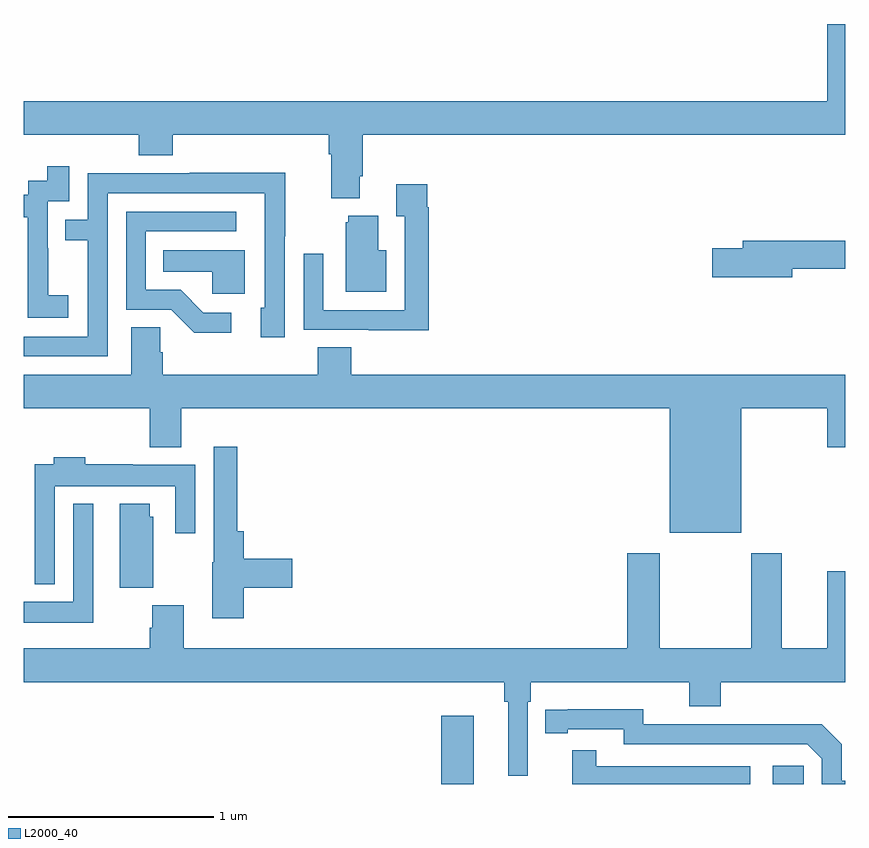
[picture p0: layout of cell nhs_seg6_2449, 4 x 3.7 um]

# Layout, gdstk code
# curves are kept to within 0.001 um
import gdstk
lib = gdstk.Library(unit=1e-6, precision=1e-09)
def R(c, l, rs):  # rectangles x0, y0, x1, y1
    for r in rs: c.add(gdstk.rectangle(r[:2], r[2:], *l))
def P(c, l, *ps):  # polygons
    for p in ps: c.add(gdstk.Polygon(p, *l))
L2000_40 = (2000, 40)

nhs_seg6_2449 = lib.new_cell('nhs_seg6_2449')
R(nhs_seg6_2449, L2000_40, [(259.034,953.5,259.192,953.833), (260.646,953.5,260.796,953.59)])
P(nhs_seg6_2449, L2000_40, [(258.637,956.458),(258.65,956.458),(258.65,956.66),(261,956.66),(261,957.199),(260.912,957.199),(260.912,956.824),(257,956.824),(257,956.66),(257.561,956.66),(257.561,956.561),(257.726,956.561),(257.726,956.66),(258.485,956.66),(258.485,956.564),(258.497,956.564),(258.497,956.351),(258.637,956.351)],
  [(257.218,955.879),(257.12,955.879),(257.12,956.108),(257.118,956.108),(257.118,956.337),(257.223,956.337),(257.223,956.506),(257.115,956.506),(257.115,956.436),(257.022,956.436),(257.022,956.367),(257,956.367),(257,956.259),(257.021,956.259),(257.021,955.975),(257.02,955.975),(257.02,955.769),(257.218,955.769)],
  [(257.409,956.376),(258.173,956.376),(258.173,956.122),(258.174,956.122),(258.174,955.818),(258.155,955.818),(258.155,955.674),(258.27,955.674),(258.27,956.167),(258.273,956.167),(258.273,956.474),(257.809,956.474),(257.809,956.472),(257.313,956.472),(257.313,956.247),(257.203,956.247),(257.203,956.146),(257.313,956.146),(257.313,955.677),(257,955.677),(257,955.581),(257.409,955.581)],
  [(258.971,956.306),(258.964,956.306),(258.964,956.419),(258.815,956.419),(258.815,956.263),(258.855,956.263),(258.855,955.806),(258.459,955.806),(258.459,956.08),(258.363,956.08),(258.363,955.71),(258.679,955.71),(258.679,955.709),(258.971,955.709)],
  [(258.01,955.794),(257.875,955.794),(257.764,955.905),(257.595,955.905),(257.595,956.19),(258.034,956.19),(258.034,956.286),(257.499,956.286),(257.499,955.809),(257.718,955.809),(257.831,955.697),(258.01,955.697)],
  [(258.766,956.098),(258.727,956.098),(258.727,956.266),(258.581,956.266),(258.581,956.235),(258.569,956.235),(258.569,955.895),(258.766,955.895)],
  [(260.74,956.008),(261,956.008),(261,956.144),(260.501,956.144),(260.501,956.108),(260.352,956.108),(260.352,955.966),(260.74,955.966)],
  [(258.076,956.098),(257.68,956.098),(257.68,955.994),(257.919,955.994),(257.919,955.886),(258.076,955.886)],
  [(260.494,955.328),(260.912,955.328),(260.912,955.14),(261,955.14),(261,955.492),(258.596,955.492),(258.596,955.625),(258.431,955.625),(258.431,955.492),(257.678,955.492),(257.678,955.601),(257.664,955.601),(257.664,955.724),(257.525,955.724),(257.525,955.492),(257,955.492),(257,955.328),(257.615,955.328),(257.615,955.139),(257.767,955.139),(257.767,955.328),(260.144,955.328),(260.144,954.722),(260.494,954.722)],
  [(258.071,954.454),(258.307,954.454),(258.307,954.596),(258.071,954.596),(258.071,954.73),(258.041,954.73),(258.041,955.141),(257.925,955.141),(257.925,954.579),(257.918,954.579),(257.918,954.306),(258.071,954.306)],
  [(257.151,954.95),(257.739,954.95),(257.739,954.72),(257.835,954.72),(257.835,955.054),(257.531,955.054),(257.531,955.057),(257.3,955.057),(257.3,955.09),(257.147,955.09),(257.147,955.057),(257.055,955.057),(257.055,954.473),(257.151,954.473)],
  [(257.338,954.865),(257.241,954.865),(257.241,954.388),(257,954.388),(257,954.284),(257.338,954.284)],
  [(257.632,954.801),(257.614,954.801),(257.614,954.865),(257.468,954.865),(257.468,954.454),(257.632,954.454)],
  [(259.455,953.9),(259.469,953.9),(259.469,953.996),(260.24,953.996),(260.24,953.879),(260.392,953.879),(260.392,953.996),(261,953.996),(261,954.535),(260.912,954.535),(260.912,954.16),(260.689,954.16),(260.689,954.622),(260.541,954.622),(260.541,954.16),(260.097,954.16),(260.097,954.622),(259.937,954.622),(259.937,954.16),(257.779,954.16),(257.779,954.369),(257.627,954.369),(257.627,954.26),(257.615,954.26),(257.615,954.16),(257,954.16),(257,953.996),(259.339,953.996),(259.339,953.9),(259.358,953.9),(259.358,953.541),(259.455,953.541)],
  [(261,953.517),(260.982,953.517),(260.982,953.694),(260.884,953.792),(260.476,953.792),(260.476,953.79),(260.016,953.79),(260.016,953.863),(259.54,953.862),(259.54,953.746),(259.648,953.746),(259.648,953.766),(259.92,953.766),(259.92,953.694),(260.814,953.694),(260.886,953.622),(260.886,953.5),(261,953.5)],
  [(260.536,953.586),(259.787,953.586),(259.787,953.665),(259.67,953.665),(259.67,953.5),(260.536,953.5)])

lib.write_gds('nhs_seg6_2449.gds')
